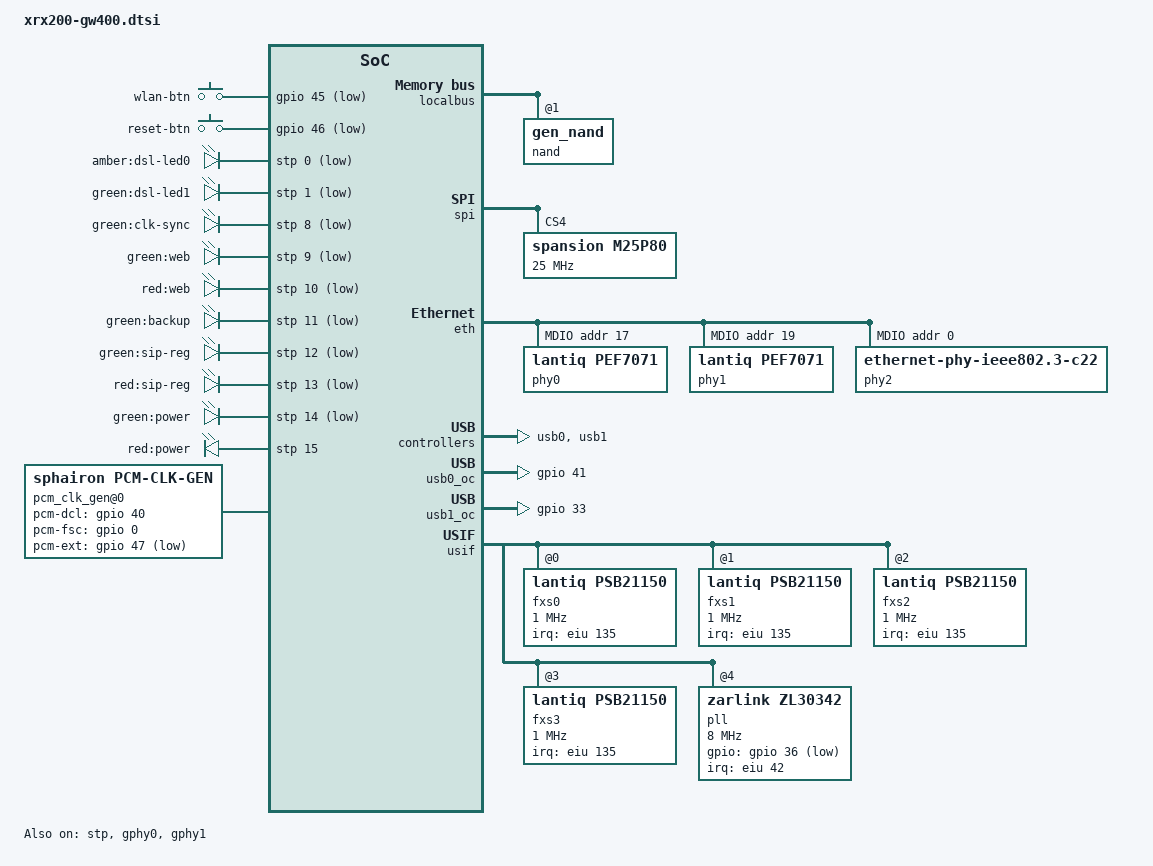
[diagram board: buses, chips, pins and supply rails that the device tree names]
// SPDX-License-Identifier: GPL-2.0
/*
 * Copyright (C) 2014-2019 Sphairon GmbH (a Zyxel company)
 */

#include <dt-bindings/gpio/gpio.h>
#include <dt-bindings/interrupt-controller/irq.h>
#include "xrx200.dtsi"

/ {
	gpio-keys-polled {
		compatible = "gpio-keys-polled";
		#address-cells = <1>;
		#size-cells = <0>;
		poll-interval = <100>;

		pinctrl-names = "default";
		pinctrl-0 = <&pins_gpio_keys_default>;

		wlan {
			label = "wlan-btn";
			gpios = <&gpio 45 GPIO_ACTIVE_LOW>;
			linux,code = <0x101>;	/* BTN_1 */
		};
		reset {
			label = "reset-btn";
			gpios = <&gpio 46 GPIO_ACTIVE_LOW>;
			linux,code = <0x100>;	/* BTN_0 */
		};
	};

	gpio-leds {
		compatible = "gpio-leds";

		dsl0_amber {
			label = "amber:dsl-led0";
			gpios = <&stp 0 GPIO_ACTIVE_LOW>;
			default-state = "off";
		};
		dsl1_green {
			label = "green:dsl-led1";
			gpios = <&stp 1 GPIO_ACTIVE_LOW>;
			default-state = "off";
		};
		clk_sync_green {
			label = "green:clk-sync";
			gpios = <&stp 8 GPIO_ACTIVE_LOW>;
			default-state = "off";
		};
		web_green {
			label = "green:web";
			gpios = <&stp 9 GPIO_ACTIVE_LOW>;
			default-state = "off";
		};
		web_red {
			label = "red:web";
			gpios = <&stp 10 GPIO_ACTIVE_LOW>;
			default-state = "off";
		};
		backup_green {
			label = "green:backup";
			gpios = <&stp 11 GPIO_ACTIVE_LOW>;
			default-state = "off";
		};
		sip_reg_green {
			label = "green:sip-reg";
			gpios = <&stp 12 GPIO_ACTIVE_LOW>;
			default-state = "off";
		};
		sip_reg_red {
			label = "red:sip-reg";
			gpios = <&stp 13 GPIO_ACTIVE_LOW>;
			default-state = "off";
		};
		power_green {
			label = "green:power";
			gpios = <&stp 14 GPIO_ACTIVE_LOW>;
			default-state = "off";
		};
		power_red {
			label = "red:power";
			gpios = <&stp 15 GPIO_ACTIVE_HIGH>;
			default-state = "on";
		};
	};

	sph_platform {
		#address-cells = <1>;
		#size-cells = <0>;
		compatible = "sphairon,platform";

		pinctrl-names = "default";
		pinctrl-0 = <&pins_sph_platform_default>;

		svip_rst {
			label = "svip-rst";
			gpios = <&gpio 31 GPIO_ACTIVE_LOW>;
			default-state = "on";
		};
	};

	pcm_clk_gen@0 {
		#address-cells = <1>;
		#size-cells = <0>;
		compatible = "sphairon,pcm-clk-gen";

		pinctrl-names = "default", "master", "slave";
		pinctrl-0 = <&pins_pcm_default>;
		pinctrl-1 = <&pins_pcm_master>;
		pinctrl-2 = <&pins_pcm_slave>;

		gpio-pcm-dcl = <&gpio 40 GPIO_ACTIVE_HIGH>;
		gpio-pcm-fsc = <&gpio 0 GPIO_ACTIVE_HIGH>;
		gpio-pcm-ext = <&gpio 47 GPIO_ACTIVE_LOW>;
	};
};

&localbus {
	nand@1 {
		compatible = "gen_nand", "lantiq,nand-xway";
		reg = <1 0x0 0x2000000>;
		linux,mtd-name = "nand-xway";
		bank-width = <2>;
		lantiq,cs = <1>;
		pinctrl-names = "default";
		pinctrl-0 = <&pins_nand_default>;
	};
};

&spi {
	pinctrl-names = "default";
	pinctrl-0 = <&pins_spi_default>;

	status = "ok";

	m25p80@4 {
		#address-cells = <1>;
		#size-cells = <1>;
		compatible = "spansion,m25p80";
		reg = <4>;
		spi-max-frequency = <25000000>;
	};
};

&gpio {
	pinctrl-names = "default";
	pinctrl-0 = <&pins_default>;

	pins_default: pins_default {
		supervisor {
			lantiq,groups = "clkout0";
			lantiq,function = "cgu";
			lantiq,output = <1>;
		};
	};

	pins_eth_default: pins_eth_default {
		mdio {
			lantiq,groups = "mdio";
			lantiq,function = "mdio";
			lantiq,output = <1>;
		};
		exin2 {
			lantiq,groups = "exin2";
			lantiq,function = "exin";
			lantiq,output = <0>;
		};
	};

	pins_gpio_keys_default: pins_gpio_keys_default {
		gpio_in {
			lantiq,pins = "io45", "io46";
			lantiq,output = <0>;
		};
	};

	pins_nand_default: pins_nand_default {
		nand_out {
			lantiq,groups = "ebu cs1", "nand cle",
					"nand ale", "nand rd";
			lantiq,function = "ebu";
			lantiq,output = <1>;
		};
		nand_in {
			lantiq,groups = "nand rdy";
			lantiq,function = "ebu";
			lantiq,output = <0>;
		};
	};

	pins_psb21150_default: pins_psb21150_default {
		exin1 {
			lantiq,groups = "exin1";
			lantiq,function = "exin";
			lantiq,output = <0>;
		};
	};

	pins_zl30342_default: pins_zl30342_default {
		exin5 {
			lantiq,groups = "exin5";
			lantiq,function = "exin";
			lantiq,output = <0>;
		};
		reset {
			lantiq,pins = "io36";
			lantiq,output = <1>;
		};
	};

	pins_sph_platform_default: pins_sph_platform_default {
		gpio_low_active {
			lantiq,pins = "io31";
			lantiq,output = <1>;
		};
	};

	pins_spi_default: pins_spi_default {
		spi_in {
			lantiq,groups = "spi_din";
			lantiq,function = "spi";
			lantiq,output = <0>;
		};
		spi_out {
			lantiq,groups = "spi_dout", "spi_clk",
					"spi_cs4";
			lantiq,function = "spi";
			lantiq,output = <1>;
			lantiq,open-drain = <0>;
		};
	};

	pins_stp_default: pins_stp_default {
		stp {
			lantiq,groups = "stp";
			lantiq,function = "stp";
			lantiq,output = <1>;
			lantiq,open-drain = <0>;
		};
	};

	pins_usif_spi_default: pins_usif_spi_default {
		usif_in {
			lantiq,groups = "usif din";
			lantiq,function = "usif";
			lantiq,output = <0>;
		};
		usif_out {
			lantiq,groups = "usif dout";
			lantiq,function = "usif";
			lantiq,output = <1>;
			lantiq,open-drain = <0>;
		};
		usif_clk {
			lantiq,groups = "usif clk drive";
			lantiq,function = "gpio";
			lantiq,output = <1>;
			lantiq,drive = <1>;
			lantiq,open-drain = <0>;
		};
		cs {
			lantiq,pins = "io22", "io32", "io34",
					"io37", "io39";
			lantiq,output = <1>;
			lantiq,drive = <1>;
		};
	};

	pins_usif_clk_active: pins_usif_clk_active{
		usif_clk {
			lantiq,groups = "usif clk";
			lantiq,function = "usif";
			lantiq,output = <1>;
		};
	};

	pins_usif_clk_high: pins_usif_clk_high {
		usif_clk {
			lantiq,groups = "usif clk drive";
			lantiq,function = "gpio";
			lantiq,output = <1>;
			lantiq,drive = <1>;
		};
	};

	pins_usif_clk_low: pins_usif_clk_low {
		usif_clk {
			lantiq,groups = "usif clk drive";
			lantiq,function = "gpio";
			lantiq,output = <1>;
			lantiq,drive = <1>;
		};
	};

	pins_usb0_default: pins_usb0_default {
		gpio_high_active {
			lantiq,pins = "io41";
			lantiq,output = <1>;
			lantiq,drive = <0>;
		};
	};

	pins_usb1_default: pins_usb1_default {
		gpio_high_active {
			lantiq,pins = "io33";
			lantiq,output = <1>;
			lantiq,drive = <0>;
		};
	};

	pins_pcm_default: pins_pcm_default {
		pcm_clock {
			lantiq,pins = "io0", "io40";
			lantiq,pull = <2>;
			lantiq,output = <0>;
		};
		pcm_sync_ext {
			lantiq,pins = "io47";
			lantiq,output = <1>;
			lantiq,drive = <0>;
		};
	};

	pins_pcm_master: pins_pcm_master {
		pcm_clock {
			lantiq,pins = "io0", "io40";
			lantiq,output = <1>;
			lantiq,drive = <0>;
			lantiq,open-drain = <0>;
		};
	};

	pins_pcm_slave: pins_pcm_slave {
		pcm_clock {
			lantiq,pins = "io0", "io40";
			lantiq,pull = <2>;
			lantiq,output = <0>;
		};
	};
};

&stp {
	pinctrl-names = "default";
	pinctrl-0 = <&pins_stp_default>;

	status = "ok";

	lantiq,shadow = <0xff03>;
	lantiq,groups = <0x3>;
	lantiq,speed = <0x8>;
	lantiq,phy1 = <0x3>;
	lantiq,phy2 = <0x3>;
};

#if !defined(IS_UGW_61)
&gphy0 {
	lantiq,phy-mode = "11g";
	status = "ok";
};

&gphy1 {
	lantiq,phy-mode = "11g";
	status = "ok";
};
#endif

&eth {
	pinctrl-names = "default";
	pinctrl-0 = <&pins_eth_default>;

#if defined(IS_UGW_61)
	gphy@0 {
		lantiq,phy-mode = "11g";
		status = "ok";
	};

	gphy@1 {
		lantiq,phy-mode = "11g";
		status = "ok";
	};
#endif

	mdio@0 {
		phy0: ethernet-phy@11 {
			compatible = "lantiq,pef7071", "ethernet-phy-ieee802.3-c22";
			/*interrupt-parent = <&icu0>;
			interrupts = <122>;*/
			reg = <0x11>;
			lantiq,led0 = <0x7003>;
			lantiq,led1 = <0x4000>;
			lantiq,led2 = <0x0>;
		};

		phy1: ethernet-phy@13 {
			compatible = "lantiq,pef7071", "ethernet-phy-ieee802.3-c22";
			/*interrupt-parent = <&icu0>;
			interrupts = <121>;*/
			reg = <0x13>;
			lantiq,led0 = <0x7003>;
			lantiq,led1 = <0x4000>;
			lantiq,led2 = <0x0>;
		};

		phy2: ethernet-phy@0 {
			compatible = "ethernet-phy-ieee802.3-c22";
			reg = <0x0>;
		};
	};

	ethernet@0 {
		phy-mode = "rgmii";
		lantiq,rgmii-tx-delay = <3>;
		status = "ok";
		lantiq,port-name = "sw-p0";
		fixed-link {
			speed = <1000>;
			full-duplex;
		};
	};

	ethernet@2 {
		phy-handle = <&phy0>;
		phy-mode = "gmii";
		status = "ok";
		lantiq,port-name = "sw-p2";
	};

	ethernet@4 {
		phy-handle = <&phy1>;
		phy-mode = "gmii";
		status = "ok";
		lantiq,port-name = "sw-p4";
	};

	ethernet@5 {
		phy-handle = <&phy2>;
		phy-mode = "rgmii";
		lantiq,rgmii-tx-delay = <3>;
		status = "ok";
		lantiq,port-name = "sw-p5";
		lantiq,wanoe;
	};
};

&usb0 {
	status = "ok";
};

&usb1 {
	status = "ok";
};

&usb0_oc {
	pinctrl-names = "default";
	pinctrl-0 = <&pins_usb0_default>;
	gpios = <&gpio 41 GPIO_ACTIVE_HIGH>;
	debounce-interval = <100>;
	status = "ok";
};

&usb1_oc {
	pinctrl-names = "default";
	pinctrl-0 = <&pins_usb1_default>;
	gpios = <&gpio 33 GPIO_ACTIVE_HIGH>;
	debounce-interval = <100>;
	status = "ok";
};

&usif {
	pinctrl-names = "default", "clk active", "clk high",
			"clk low";
	pinctrl-0 = <&pins_usif_spi_default &pins_usif_clk_low
			&pins_psb21150_default &pins_zl30342_default>;
	pinctrl-1 = <&pins_usif_clk_active>;
	pinctrl-2 = <&pins_usif_clk_high>;
	pinctrl-3 = <&pins_usif_clk_low>;

	status = "ok";

	cs-gpios = <&gpio 39 GPIO_ACTIVE_HIGH>, <&gpio 32 GPIO_ACTIVE_HIGH>,
		<&gpio 34 GPIO_ACTIVE_HIGH>, <&gpio 22 GPIO_ACTIVE_HIGH>,
		<&gpio 37 GPIO_ACTIVE_HIGH>;

	fxs0: psb21150@0 {
		compatible = "lantiq,psb21150";
		reg = <0>;
		spi-max-frequency = <1000000>;
		spi-cpol;
		spi-cpha;
		interrupt-parent = <&eiu>;
		interrupts = <135 IRQ_TYPE_LEVEL_LOW>;
		lantiq,mode-lts;
		lantiq,iom2-channel = <0>;
	};

	fxs1: psb21150@1 {
		compatible = "lantiq,psb21150";
		reg = <1>;
		spi-max-frequency = <1000000>;
		spi-cpol;
		spi-cpha;
		interrupt-parent = <&eiu>;
		interrupts = <135 IRQ_TYPE_LEVEL_LOW>;
		lantiq,mode-lts;
		lantiq,iom2-channel = <1>;
	};

	fxs2: psb21150@2 {
		compatible = "lantiq,psb21150";
		reg = <2>;
		spi-max-frequency = <1000000>;
		spi-cpol;
		spi-cpha;
		interrupt-parent = <&eiu>;
		interrupts = <135 IRQ_TYPE_LEVEL_LOW>;
		lantiq,mode-lts;
		lantiq,iom2-channel = <2>;
	};

	fxs3: psb21150@3 {
		compatible = "lantiq,psb21150";
		reg = <3>;
		spi-max-frequency = <1000000>;
		spi-cpol;
		spi-cpha;
		interrupt-parent = <&eiu>;
		interrupts = <135 IRQ_TYPE_LEVEL_LOW>;
		lantiq,mode-lts;
		lantiq,iom2-channel = <3>;
	};

	pll: zl30342@4 {
		compatible = "zarlink,zl30342";
		reg = <4>;
		spi-max-frequency = <8000000>;
		interrupt-parent = <&eiu>;
		interrupts = <42 IRQ_TYPE_EDGE_FALLING>;
		gpios = <&gpio 36 GPIO_ACTIVE_LOW>;
	};
};
